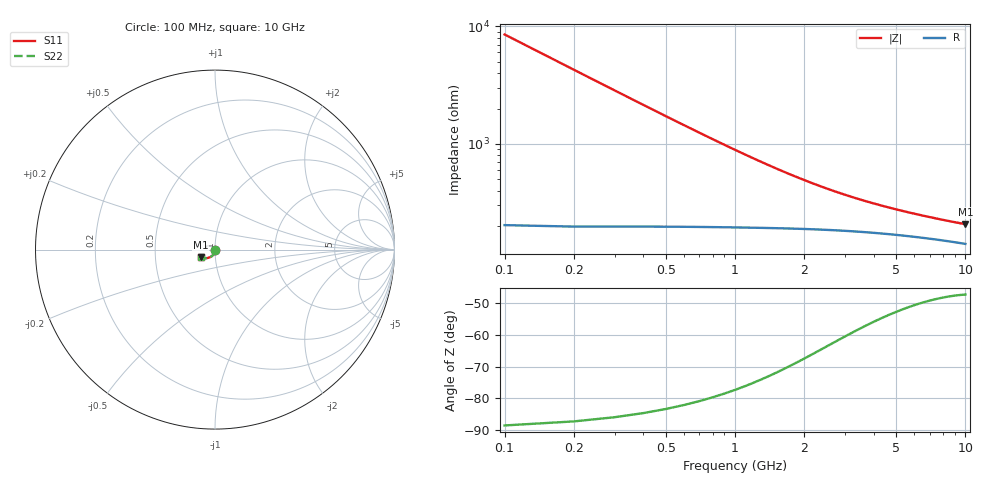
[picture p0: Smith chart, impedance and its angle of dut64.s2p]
! Touchstone file exported from HFSS 2024.1.0
!  File:  C:/UserFiles/LocalFiles/RDL_TSV_Batchsim/temp_TSV1_64_1778764544.aedt
!  Generated:  09:19:28 PM May 14, 2026
!  Design:  TSV1
!  Project:  temp_TSV1_64_1778764544
!  Setup:  Setup1
!  Solution:  Sweep
! Variables:
!  dtsv = 15.43um
!  hbump = 3um
!  htsv = 99.59um
!  lrdl = 252.1521522um
!  p = 40
!  p1 = 45.78um
!  t = 500um
!  trdl = 3um
!  wrdl = 24.89489489um
# GHz S MA R 50.000000
! Terminal data exported
! Port[1] = TSV22_T1
! Port[2] = TSV22_T2
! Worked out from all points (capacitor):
!   100 points, 100 MHz to 10 GHz, reference 50 ohm
!   read as one part in shunt: C = 186 fF near 100 MHz
!   lowest |Z| = 207 ohm at 10 GHz (marker M1)
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0.1  0.002541 -89.5  0.9998 -0.2  0.9998 -0.2  0.002541 -89.5
! Gamma 0 0 0 0
! Port Impedance 50 0 50 0
0.2  0.005087 -92.0  0.9996 -0.4  0.9996 -0.4  0.005087 -92.0
0.3  0.007628 -93.9  0.9992 -0.6  0.9992 -0.6  0.007628 -93.9
0.4  0.01015 -95.7  0.9987 -0.7  0.9987 -0.7  0.01015 -95.7
0.5  0.01265 -97.5  0.9981 -0.9  0.9981 -0.9  0.01265 -97.5
0.6  0.01511 -99.1  0.9973 -1.1  0.9973 -1.1  0.01511 -99.1
0.7  0.01753 -100.8  0.9964 -1.3  0.9964 -1.3  0.01753 -100.8
0.8  0.0199 -102.4  0.9955 -1.4  0.9955 -1.4  0.0199 -102.4
0.9  0.02221 -103.9  0.9944 -1.6  0.9944 -1.6  0.02221 -103.9
1.1  0.02668 -106.9  0.9921 -1.9  0.9921 -1.9  0.02668 -106.9
1.4  0.0329 -111.1  0.9882 -2.3  0.9882 -2.3  0.0329 -111.1
1.6  0.03673 -113.7  0.9854 -2.6  0.9854 -2.6  0.03673 -113.7
1.8  0.0403 -116.1  0.9825 -2.8  0.9825 -2.8  0.0403 -116.1
2.1  0.04519 -119.5  0.9782 -3.1  0.9782 -3.1  0.04519 -119.5
2.5  0.05091 -123.5  0.9726 -3.5  0.9726 -3.5  0.05091 -123.5
2.9  0.05583 -126.9  0.9673 -3.8  0.9673 -3.8  0.05583 -126.9
3.4  0.06106 -130.6  0.9613 -4.1  0.9613 -4.1  0.06106 -130.6
4.2  0.0678 -135.4  0.953 -4.5  0.953 -4.5  0.0678 -135.4
5.1  0.0737 -139.6  0.9454 -4.9  0.9454 -4.9  0.0737 -139.6
6.7  0.08136 -145.0  0.9351 -5.5  0.9351 -5.5  0.08136 -145.0
8.4  0.08705 -149.1  0.9272 -6.1  0.9272 -6.1  0.08705 -149.1
10  0.09098 -152.0  0.9218 -6.7  0.9218 -6.7  0.09098 -152.0
